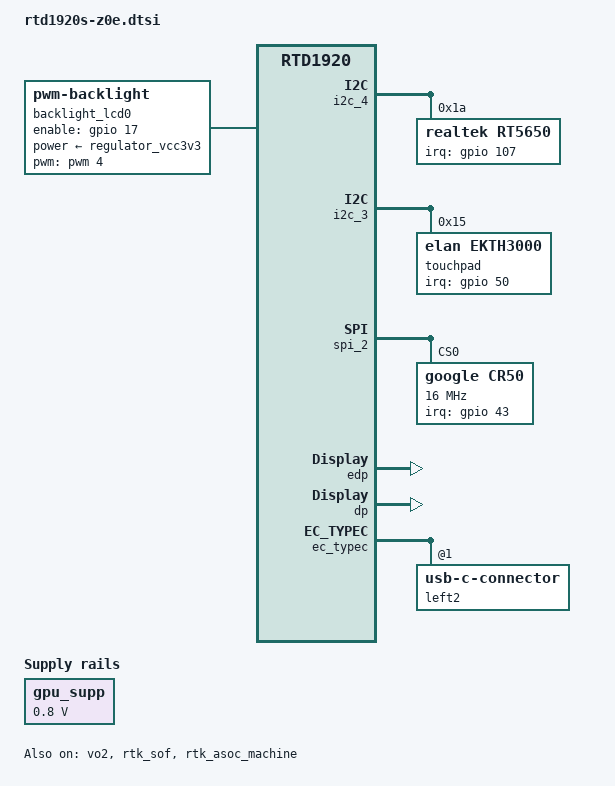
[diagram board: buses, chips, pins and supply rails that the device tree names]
// SPDX-License-Identifier: (GPL-2.0-or-later OR BSD-2-Clause)
/*
 * Realtek RTD1920S Smallville EVB
 *
 * Copyright (c) 2024 Realtek Semiconductor Corp.
 */

/dts-v1/;

#include <dt-bindings/thermal/thermal.h>
#include "rtd1920.dtsi"
#include "rtd1920s-z0e.rds.dtsi"

/ {
	chosen {
		bootargs = "earlycon=uart8250,mmio32,0x98007800 console=ttyS0,460800 8250.nr_uarts=10 init=/init loglevel=8 max_loop=64 loop.max_part=7 firmware_class.path=/vendor/firmware/";
		stdout-path = "serial0:460800n8";
	};

	backlight_lcd0: backlight-lcd0 {
		compatible = "pwm-backlight";
		brightness-levels = <0 1023>;
		default-brightness-level = <576>;
		enable-gpios = <&gpio 17 GPIO_ACTIVE_HIGH>;
		num-interpolated-steps = <1023>;
		pinctrl-0 = <&pwm4_pins>;
		pinctrl-names = "default";
		power-supply = <&regulator_vcc3v3>;
		pwms = <&pwm 4 500000>;
		status = "okay";
	};
};

&sdio {
	wifi-rst-gpios = <&gpio 27 GPIO_ACTIVE_HIGH>;
	wifi-rst-shared;
	device-power-supply = <&wlan_supp>;
};

&pcie0 {
	device-power-gpios = <&gpio 136 GPIO_ACTIVE_HIGH>;
};

&pcie1 {
	device-power-supply = <&wlan_supp>;
};

&hdmi {
	hdmi-supply = <&hdmi_supp>;
	ext-flags = <0x8>;
	status = "disabled";
};

&nic {
	status = "disabled";
};

&vo0 {
       status = "disabled";
};

&vo2 {
       status = "okay";
};

&{/} {
	clk_scpu: clk-scpu {
		compatible = "realtek,rtd1625-scpu-clk";
		realtek,cc = <&cc>;
		#clock-cells = <0>;
	};

	cpu_opps: opp-table-cpu {
		compatible = "operating-points-v2";
		opp-shared;

		opp1000: opp-1000000000 {
			opp-hz = /bits/ 64 <1000000000>;
			opp-microvolt = <830000 830000 1100000>;
			clock-latency-ns = <150000>;
			status = "okay";
		};

		opp1100: opp-1100000000 {
			opp-hz = /bits/ 64 <1100000000>;
			opp-microvolt = <850000 850000 1100000>;
			clock-latency-ns = <150000>;
			status = "okay";
		};

		opp1200: opp-1200000000 {
			opp-hz = /bits/ 64 <1200000000>;
			opp-microvolt = <870000 870000 1100000>;
			clock-latency-ns = <150000>;
			status = "okay";
		};

		opp1300: opp-1300000000 {
			opp-hz = /bits/ 64 <1300000000>;
			opp-microvolt = <890000 890000 1100000>;
			clock-latency-ns = <150000>;
			status = "okay";
		};

		opp1400: opp-1400000000 {
			opp-hz = /bits/ 64 <1400000000>;
			opp-microvolt = <910000 910000 1100000>;
			clock-latency-ns = <150000>;
			status = "okay";
		};

		opp1500: opp-1500000000 {
			opp-hz = /bits/ 64 <1500000000>;
			opp-microvolt = <930000 930000 1100000>;
			clock-latency-ns = <150000>;
			status = "okay";
		};

		opp1600: opp-1600000000 {
			opp-hz = /bits/ 64 <1600000000>;
			opp-microvolt = <990000 990000 1100000>;
			clock-latency-ns = <150000>;
			opp-suspend;
			status = "okay";
		};

		opp1700: opp-1700000000 {
			opp-hz = /bits/ 64 <1700000000>;
			opp-microvolt = <1010000 1010000 1100000>;
			clock-latency-ns = <150000>;
			status = "okay";
		};

		opp1800: opp-1800000000 {
			opp-hz = /bits/ 64 <1800000000>;
			opp-microvolt = <1030000 1030000 1100000>;
			clock-latency-ns = <150000>;
			status = "okay";
		};

		opp1900: opp-1900000000 {
			opp-hz = /bits/ 64 <1900000000>;
			opp-microvolt = <1050000 1050000 1100000>;
			clock-latency-ns = <150000>;
			status = "okay";
		};
	};
};

&cpu0 {
	clocks = <&clk_scpu>;
	cpu-supply = <&cpu_supp>;
	operating-points-v2 = <&cpu_opps>;
	#cooling-cells = <2>;
};

&cpu1 {
	clocks = <&clk_scpu>;
	cpu-supply = <&cpu_supp>;
	operating-points-v2 = <&cpu_opps>;
	#cooling-cells = <2>;
};

&cpu2 {
	clocks = <&clk_scpu>;
	cpu-supply = <&cpu_supp>;
	operating-points-v2 = <&cpu_opps>;
	#cooling-cells = <2>;
};

&cpu3 {
	clocks = <&clk_scpu>;
	cpu-supply = <&cpu_supp>;
	operating-points-v2 = <&cpu_opps>;
	#cooling-cells = <2>;
};

&gpu {
	mali-supply = <&gpu_supp>;
	shadercores-supply = <&gpu_supp>;
	operating-points-v2 = <&gpu_opps>;
};

&i2c_4 {
        rt5650: rt5650@1a {
                compatible = "realtek,rt5650";
                reg = <0x1a>;
                interrupt-parent = <&gpio>;
                interrupts = <107 IRQ_TYPE_EDGE_BOTH>;
                realtek,jd-mode = <2>;
        };
};

&rtk_sof {
        status = "okay";
};

&rtk_asoc_machine {
        pinctrl-names = "default";
        pinctrl-0 = <&ao_i2s0_loc0_pins>, <&ao_i2s0_pins>, <&ao_i2s1_loc0_no_mck_pins>, <&ai_i2s0_d0_pins>, <&ai_dmic0_pins>;
        realtek,audio-platform = <&rtk_sof>;
        realtek,audio-codec = <&rt5650>;
        realtek,dai-link = "RDAI_I2S","RDAI_I2S1","RDAI_DMIC";
        status = "okay";
};

&hifi_rpmsg {
        skip-handshake;
};

&{/} {
	gpu_supp: fixed-gpu {
		compatible = "regulator-fixed";
		regulator-name = "gpu";
		regulator-min-microvolt = <800000>;
		regulator-max-microvolt = <800000>;
	};

	gpu_opps: opp-table-gpu {
		compatible = "operating-points-v2", "operating-points-v2-mali";

		opp-405000000 {
			opp-hz = /bits/ 64 <405000000>;
			opp-hz-real = /bits/ 64 <405000000>;
			opp-microvolt = <800000>, <800000>;
			opp-suspend;
		};

		opp-540000000 {
			opp-hz = /bits/ 64 <540000000>;
			opp-hz-real = /bits/ 64 <540000000>;
			opp-microvolt = <800000>, <800000>;
		};

		opp-729000000 {
			opp-hz = /bits/ 64 <729000000>;
			opp-hz-real = /bits/ 64 <729000000>;
			opp-microvolt = <800000>, <800000>;
		};

		opp-850500000 {
			opp-hz = /bits/ 64 <850500000>;
			opp-hz-real = /bits/ 64 <850500000>;
			opp-microvolt = <800000>, <800000>;
		};
	};
};

&sdio {
	status = "disabled";
};

&sdcard {
	status = "disabled";
};

&i2c_3 {
	touchpad@15 {
		compatible = "elan,ekth3000";
		reg = <0x15>;
		pinctrl-names = "default";
		pinctrl-0 = <&trackpad_pins>;
		interrupt-parent = <&gpio>;
		interrupts = <50 IRQ_TYPE_EDGE_FALLING>;
		wakeup-source;
	};
};

&spi_2 {
	status = "okay";

	cr50: cr50@0 {
		compatible = "google,cr50";
		reg = <0x0>;
		pinctrl-names = "default";
		pinctrl-0 = <&gsc_pins>;
		interrupt-parent = <&gpio>;
		interrupts = <43 IRQ_TYPE_EDGE_RISING>;
		spi-max-frequency = <16000000>;
	};
};

&edp {
	status = "okay";
	vcc-gpios = <&gpio 134 GPIO_ACTIVE_HIGH>;
};

&dp {
	status = "okay";
	/*extcon = <&usbc_extcon0>;*/
};

&ec_typec {
	usb_c1: connector@1 {
		compatible = "usb-c-connector";
		reg = <1>;
		label = "left2";
		power-role = "dual";
		data-role = "host";
		try-power-role = "source";
		status = "okay";

		ports {
			#address-cells = <1>;
			#size-cells = <0>;

			port@1 {
				reg = <1>;

				typec_port1: endpoint { };
			};
		};
	};
};

&regulator_vcc3v3{
	status = "okay";
};

&cpu_thermal {
	sustainable-power = <1000>;
};

&cpu_desired {
	temperature = <90000>;
	hysteresis = <0>;
	type = "passive";
};
